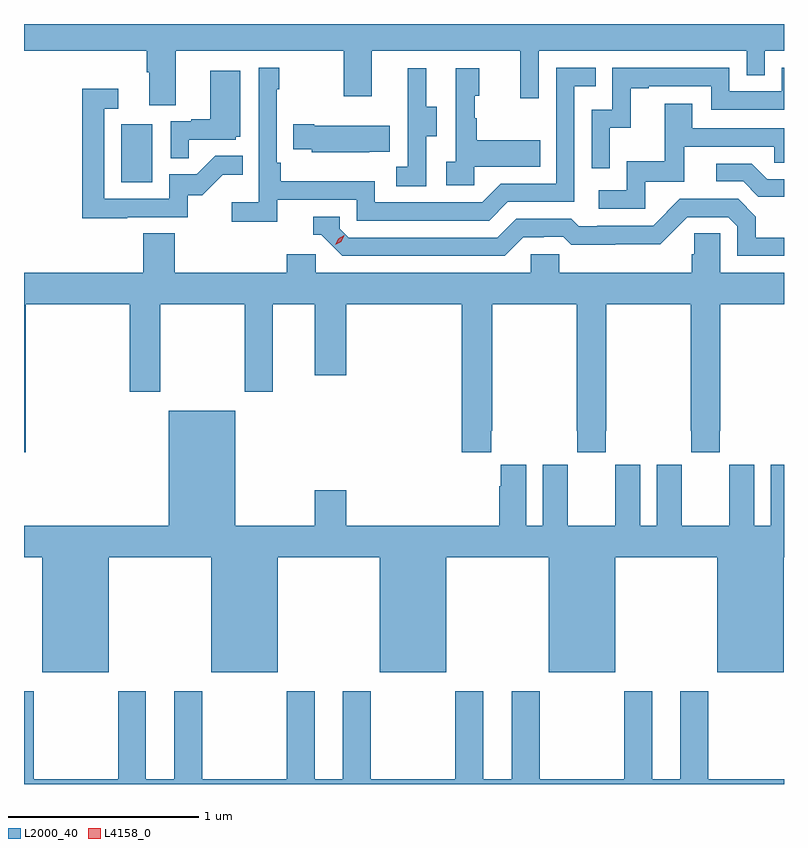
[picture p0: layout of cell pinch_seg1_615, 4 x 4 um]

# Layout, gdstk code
import gdstk
lib = gdstk.Library(unit=1e-6, precision=1e-09)
def R(c, l, rs):  # rectangles x0, y0, x1, y1
    for r in rs: c.add(gdstk.rectangle(r[:2], r[2:], *l))
def P(c, l, *ps):  # polygons
    for p in ps: c.add(gdstk.Polygon(p, *l))
L2000_40 = (2000, 40)
L4158_0 = (4158, 0)

pinch_seg1_615 = lib.new_cell('pinch_seg1_615')
R(pinch_seg1_615, L2000_40, [(1111.04,504.42,1111.204,504.727)])
P(pinch_seg1_615, L2000_40, [(1111.327,505.112),(1112.212,505.112),(1112.212,504.873),(1112.359,504.873),(1112.359,505.112),(1113.14,505.112),(1113.14,504.864),(1113.237,504.864),(1113.237,505.112),(1114.332,505.112),(1114.332,504.985),(1114.428,504.985),(1114.428,505.112),(1114.529,505.112),(1114.529,505.254),(1110.529,505.254),(1110.529,505.112),(1111.175,505.112),(1111.175,505),(1111.187,505),(1111.187,504.826),(1111.327,504.826)],
  [(1111.862,504.33),(1112.28,504.33),(1112.28,504.219),(1112.977,504.219),(1113.076,504.318),(1113.426,504.318),(1113.426,504.927),(1113.539,504.927),(1113.539,505.023),(1113.33,505.023),(1113.33,504.414),(1113.039,504.414),(1112.94,504.315),(1112.376,504.315),(1112.376,504.427),(1111.88,504.427),(1111.88,504.523),(1111.86,504.523),(1111.86,504.911),(1111.873,504.911),(1111.873,505.024),(1111.764,505.024),(1111.764,504.316),(1111.623,504.316),(1111.623,504.214),(1111.862,504.214)],
  [(1113.612,504.707),(1113.722,504.707),(1113.722,504.915),(1113.817,504.915),(1113.817,504.927),(1114.146,504.927),(1114.146,504.804),(1114.529,504.804),(1114.529,505.023),(1114.518,505.023),(1114.518,504.9),(1114.242,504.9),(1114.242,505.023),(1113.624,505.023),(1113.624,504.804),(1113.516,504.804),(1113.516,504.495),(1113.612,504.495)],
  [(1112.646,504.664),(1112.701,504.664),(1112.701,504.819),(1112.647,504.819),(1112.647,505.021),(1112.549,505.021),(1112.549,504.807),(1112.55,504.807),(1112.55,504.503),(1112.487,504.503),(1112.487,504.4),(1112.646,504.4)],
  [(1112.898,504.503),(1113.245,504.503),(1113.245,504.643),(1112.911,504.643),(1112.911,504.758),(1112.901,504.758),(1112.901,504.876),(1112.926,504.876),(1112.926,505.021),(1112.802,505.021),(1112.802,504.53),(1112.751,504.53),(1112.751,504.405),(1112.898,504.405)],
  [(1111.397,504.645),(1111.644,504.645),(1111.644,504.66),(1111.666,504.66),(1111.666,505.009),(1111.508,505.009),(1111.508,504.754),(1111.409,504.754),(1111.409,504.741),(1111.302,504.741),(1111.302,504.547),(1111.397,504.547)],
  [(1111.073,504.237),(1111.392,504.237),(1111.392,504.354),(1111.468,504.354),(1111.575,504.461),(1111.679,504.461),(1111.679,504.56),(1111.535,504.56),(1111.437,504.462),(1111.293,504.462),(1111.293,504.333),(1110.951,504.333),(1110.951,504.807),(1111.024,504.807),(1111.024,504.913),(1110.835,504.913),(1110.835,504.232),(1111.073,504.232)],
  [(1113.798,504.423),(1114.003,504.423),(1114.003,504.609),(1114.477,504.609),(1114.477,504.525),(1114.529,504.525),(1114.529,504.705),(1114.045,504.705),(1114.045,504.835),(1113.901,504.835),(1113.901,504.532),(1113.702,504.532),(1113.702,504.378),(1113.555,504.378),(1113.555,504.282),(1113.798,504.282)],
  [(1112.345,504.581),(1112.453,504.581),(1112.453,504.718),(1112.056,504.718),(1112.056,504.726),(1111.945,504.726),(1111.945,504.596),(1112.043,504.596),(1112.043,504.578),(1112.345,504.578)],
  [(1114.529,504.438),(1114.441,504.438),(1114.36,504.519),(1114.173,504.519),(1114.173,504.426),(1114.314,504.426),(1114.394,504.346),(1114.529,504.346)],
  [(1113.157,504.132),(1113.264,504.132),(1113.264,504.135),(1113.367,504.135),(1113.409,504.093),(1113.642,504.093),(1113.642,504.095),(1113.878,504.095),(1114.02,504.237),(1114.236,504.237),(1114.284,504.189),(1114.284,504.033),(1114.529,504.033),(1114.529,504.129),(1114.381,504.129),(1114.381,504.239),(1114.287,504.333),(1113.981,504.333),(1113.84,504.192),(1113.547,504.192),(1113.547,504.189),(1113.448,504.189),(1113.409,504.228),(1113.12,504.228),(1113.021,504.129),(1112.238,504.129),(1112.19,504.177),(1112.19,504.24),(1112.051,504.24),(1112.051,504.144),(1112.094,504.144),(1112.205,504.033),(1113.058,504.033)],
  [(1110.539,503.78),(1111.085,503.78),(1111.085,503.319),(1111.245,503.319),(1111.245,503.78),(1111.69,503.78),(1111.69,503.319),(1111.837,503.319),(1111.837,503.78),(1112.06,503.78),(1112.06,503.406),(1112.224,503.406),(1112.224,503.78),(1112.834,503.78),(1112.834,503.001),(1112.987,503.001),(1112.987,503.113),(1112.994,503.113),(1112.994,503.78),(1113.439,503.78),(1113.439,503.113),(1113.441,503.113),(1113.441,503.001),(1113.591,503.001),(1113.591,503.113),(1113.594,503.113),(1113.594,503.78),(1114.039,503.78),(1114.039,503.113),(1114.041,503.113),(1114.041,503.001),(1114.191,503.001),(1114.191,503.113),(1114.194,503.113),(1114.194,503.78),(1114.529,503.78),(1114.529,503.944),(1114.194,503.944),(1114.194,504.152),(1114.057,504.152),(1114.057,504.042),(1114.043,504.042),(1114.043,503.944),(1113.345,503.944),(1113.345,504.042),(1113.195,504.042),(1113.195,503.944),(1112.064,503.944),(1112.064,504.042),(1111.913,504.042),(1111.913,503.944),(1111.322,503.944),(1111.322,504.152),(1111.157,504.152),(1111.157,503.944),(1110.529,503.944),(1110.529,503.001),(1110.539,503.001)],
  [(1110.976,502.448),(1111.514,502.448),(1111.514,501.842),(1111.864,501.842),(1111.864,502.448),(1112.402,502.448),(1112.402,501.842),(1112.752,501.842),(1112.752,502.448),(1113.29,502.448),(1113.29,501.842),(1113.64,501.842),(1113.64,502.448),(1114.178,502.448),(1114.178,501.842),(1114.528,501.842),(1114.528,502.448),(1114.529,502.448),(1114.529,502.933),(1114.46,502.933),(1114.46,502.612),(1114.372,502.612),(1114.372,502.933),(1114.242,502.933),(1114.242,502.82),(1114.241,502.82),(1114.241,502.612),(1113.991,502.612),(1113.991,502.82),(1113.99,502.82),(1113.99,502.933),(1113.86,502.933),(1113.86,502.612),(1113.772,502.612),(1113.772,502.933),(1113.642,502.933),(1113.642,502.82),(1113.641,502.82),(1113.641,502.612),(1113.391,502.612),(1113.391,502.82),(1113.39,502.82),(1113.39,502.933),(1113.26,502.933),(1113.26,502.612),(1113.172,502.612),(1113.172,502.933),(1113.038,502.933),(1113.038,502.82),(1113.029,502.82),(1113.029,502.612),(1112.224,502.612),(1112.224,502.801),(1112.06,502.801),(1112.06,502.612),(1111.642,502.612),(1111.642,503.218),(1111.292,503.218),(1111.292,502.612),(1110.529,502.612),(1110.529,502.448),(1110.626,502.448),(1110.626,501.842),(1110.976,501.842)],
  [(1114.529,501.28),(1114.131,501.28),(1114.131,501.742),(1113.983,501.742),(1113.983,501.28),(1113.835,501.28),(1113.835,501.742),(1113.688,501.742),(1113.688,501.28),(1113.243,501.28),(1113.243,501.742),(1113.095,501.742),(1113.095,501.28),(1112.947,501.28),(1112.947,501.742),(1112.8,501.742),(1112.8,501.28),(1112.355,501.28),(1112.355,501.742),(1112.207,501.742),(1112.207,501.28),(1112.059,501.28),(1112.059,501.742),(1111.912,501.742),(1111.912,501.28),(1111.467,501.28),(1111.467,501.742),(1111.319,501.742),(1111.319,501.28),(1111.171,501.28),(1111.171,501.742),(1111.024,501.742),(1111.024,501.28),(1110.579,501.28),(1110.579,501.742),(1110.529,501.742),(1110.529,501.254),(1114.529,501.254)])
P(pinch_seg1_615, L4158_0, [(1112.167,504.091),(1112.167,504.091),(1112.184,504.123),(1112.214,504.142),(1112.215,504.142),(1112.215,504.142),(1112.198,504.109),(1112.168,504.091)])

lib.write_gds('pinch_seg1_615.gds')
